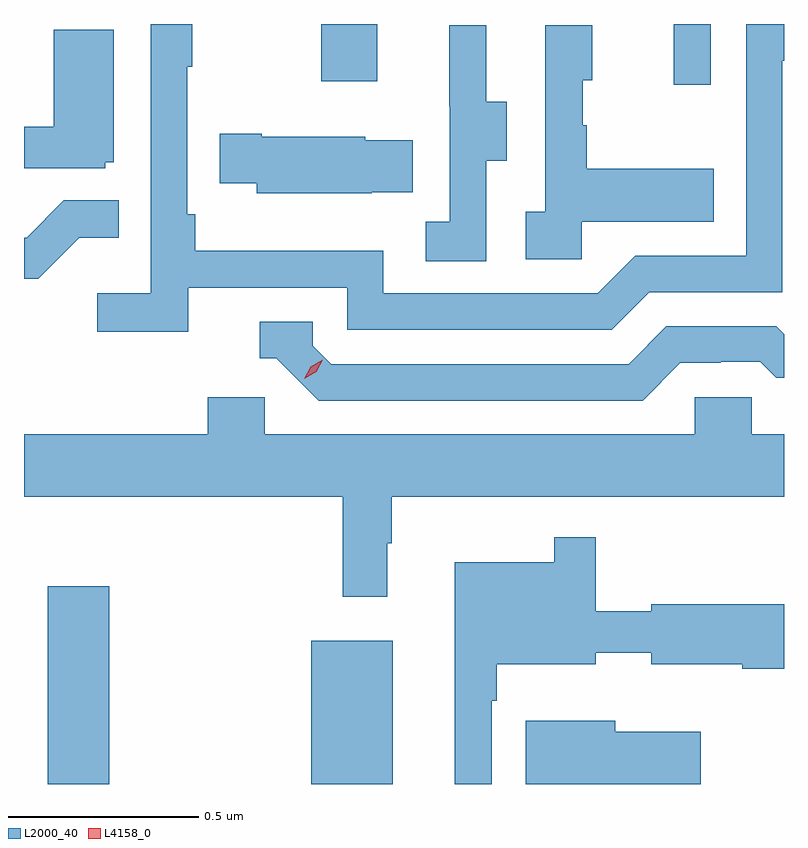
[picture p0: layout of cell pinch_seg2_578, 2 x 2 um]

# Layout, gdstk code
import gdstk
lib = gdstk.Library(unit=1e-6, precision=1e-09)
def R(c, l, rs):  # rectangles x0, y0, x1, y1
    for r in rs: c.add(gdstk.rectangle(r[:2], r[2:], *l))
def P(c, l, *ps):  # polygons
    for p in ps: c.add(gdstk.Polygon(p, *l))
L2000_40 = (2000, 40)
L4158_0 = (4158, 0)

pinch_seg2_578 = lib.new_cell('pinch_seg2_578')
R(pinch_seg2_578, L2000_40, [(1109.051,606.92,1109.212,607.441), (1109.744,606.92,1109.959,607.297), (1110.698,608.76,1110.795,608.92), (1109.77,608.769,1109.917,608.92)])
P(pinch_seg2_578, L2000_40, [(1109.42,608.226),(1109.838,608.226),(1109.838,608.115),(1110.535,608.115),(1110.634,608.214),(1110.984,608.214),(1110.984,608.823),(1110.988,608.823),(1110.988,608.919),(1110.888,608.919),(1110.888,608.31),(1110.597,608.31),(1110.498,608.211),(1109.934,608.211),(1109.934,608.323),(1109.438,608.323),(1109.438,608.419),(1109.418,608.419),(1109.418,608.807),(1109.431,608.807),(1109.431,608.92),(1109.322,608.92),(1109.322,608.212),(1109.181,608.212),(1109.181,608.11),(1109.42,608.11)],
  [(1110.456,608.399),(1110.803,608.399),(1110.803,608.539),(1110.469,608.539),(1110.469,608.654),(1110.459,608.654),(1110.459,608.772),(1110.484,608.772),(1110.484,608.917),(1110.36,608.917),(1110.36,608.426),(1110.309,608.426),(1110.309,608.301),(1110.456,608.301)],
  [(1110.204,608.56),(1110.259,608.56),(1110.259,608.715),(1110.205,608.715),(1110.205,608.917),(1110.107,608.917),(1110.107,608.703),(1110.108,608.703),(1110.108,608.399),(1110.045,608.399),(1110.045,608.296),(1110.204,608.296)],
  [(1109.202,608.556),(1109.224,608.556),(1109.224,608.905),(1109.066,608.905),(1109.066,608.65),(1108.988,608.65),(1108.988,608.541),(1109.202,608.541)],
  [(1109.903,608.477),(1110.011,608.477),(1110.011,608.614),(1109.886,608.614),(1109.886,608.623),(1109.614,608.623),(1109.614,608.631),(1109.503,608.631),(1109.503,608.501),(1109.601,608.501),(1109.601,608.474),(1109.903,608.474)],
  [(1109.133,608.357),(1109.237,608.357),(1109.237,608.456),(1109.093,608.456),(1108.995,608.358),(1108.988,608.358),(1108.988,608.25),(1109.026,608.25)],
  [(1110.715,608.028),(1110.822,608.028),(1110.822,608.031),(1110.925,608.031),(1110.967,607.989),(1110.988,607.989),(1110.988,608.103),(1110.967,608.124),(1110.678,608.124),(1110.579,608.025),(1109.796,608.025),(1109.748,608.073),(1109.748,608.136),(1109.609,608.136),(1109.609,608.04),(1109.652,608.04),(1109.763,607.929),(1110.616,607.929)],
  [(1109.944,607.553),(1109.956,607.553),(1109.956,607.676),(1110.988,607.676),(1110.988,607.84),(1110.903,607.84),(1110.903,607.938),(1110.753,607.938),(1110.753,607.84),(1109.622,607.84),(1109.622,607.938),(1109.471,607.938),(1109.471,607.84),(1108.988,607.84),(1108.988,607.676),(1109.827,607.676),(1109.827,607.413),(1109.944,607.413)],
  [(1110.219,607.139),(1110.232,607.139),(1110.232,607.235),(1110.493,607.235),(1110.493,607.265),(1110.638,607.265),(1110.638,607.235),(1110.878,607.235),(1110.878,607.223),(1110.988,607.223),(1110.988,607.393),(1110.638,607.393),(1110.638,607.375),(1110.493,607.375),(1110.493,607.57),(1110.384,607.57),(1110.384,607.504),(1110.122,607.504),(1110.122,606.92),(1110.219,606.92)],
  [(1110.769,607.057),(1110.544,607.057),(1110.544,607.087),(1110.308,607.087),(1110.308,606.92),(1110.769,606.92)])
P(pinch_seg2_578, L4158_0, [(1109.726,607.986),(1109.726,607.986),(1109.743,608.018),(1109.774,608.037),(1109.774,608.037),(1109.774,608.037),(1109.757,608.005),(1109.726,607.986)])

lib.write_gds('pinch_seg2_578.gds')
